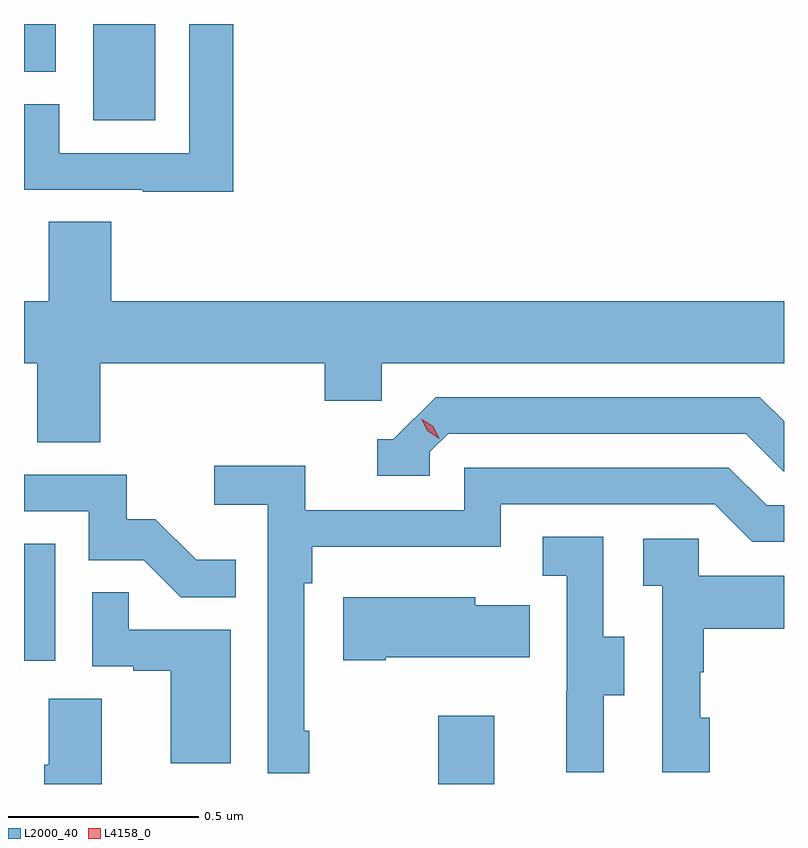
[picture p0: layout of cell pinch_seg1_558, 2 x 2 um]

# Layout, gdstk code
import gdstk
lib = gdstk.Library(unit=1e-6, precision=1e-09)
def R(c, l, rs):  # rectangles x0, y0, x1, y1
    for r in rs: c.add(gdstk.rectangle(r[:2], r[2:], *l))
def P(c, l, *ps):  # polygons
    for p in ps: c.add(gdstk.Polygon(p, *l))
L2000_40 = (2000, 40)
L4158_0 = (4158, 0)

pinch_seg1_558 = lib.new_cell('pinch_seg1_558')
R(pinch_seg1_558, L2000_40, [(1021.192,539.969,1021.339,540.148), (1020.102,540.294,1020.184,540.601), (1020.284,541.716,1020.448,541.969), (1020.102,541.843,1020.186,541.969)])
P(pinch_seg1_558, L2000_40, [(1020.653,541.969),(1020.537,541.969),(1020.537,541.629),(1020.195,541.629),(1020.195,541.758),(1020.102,541.758),(1020.102,541.533),(1020.415,541.533),(1020.415,541.528),(1020.653,541.528)],
  [(1020.302,541.076),(1020.893,541.076),(1020.893,540.978),(1021.044,540.978),(1021.044,541.076),(1022.102,541.076),(1022.102,541.24),(1020.332,541.24),(1020.332,541.448),(1020.167,541.448),(1020.167,541.24),(1020.102,541.24),(1020.102,541.076),(1020.137,541.076),(1020.137,540.868),(1020.302,540.868)],
  [(1021.17,540.843),(1021.218,540.891),(1022.001,540.891),(1022.1,540.792),(1022.102,540.792),(1022.102,540.923),(1022.038,540.987),(1021.185,540.987),(1021.074,540.876),(1021.031,540.876),(1021.031,540.78),(1021.17,540.78)],
  [(1020.853,540.109),(1020.84,540.109),(1020.84,540.497),(1020.86,540.497),(1020.86,540.593),(1021.356,540.593),(1021.356,540.705),(1021.92,540.705),(1022.019,540.606),(1022.102,540.606),(1022.102,540.702),(1022.056,540.702),(1021.957,540.801),(1021.26,540.801),(1021.26,540.69),(1020.842,540.69),(1020.842,540.806),(1020.603,540.806),(1020.603,540.704),(1020.744,540.704),(1020.744,539.997),(1020.853,539.997)],
  [(1020.659,540.559),(1020.555,540.559),(1020.448,540.666),(1020.372,540.666),(1020.372,540.783),(1020.102,540.783),(1020.102,540.687),(1020.273,540.687),(1020.273,540.558),(1020.417,540.558),(1020.515,540.46),(1020.659,540.46)],
  [(1021.627,540.202),(1021.681,540.202),(1021.681,540.357),(1021.626,540.357),(1021.626,540.62),(1021.467,540.62),(1021.467,540.517),(1021.53,540.517),(1021.53,540.213),(1021.529,540.213),(1021.529,540),(1021.627,540)],
  [(1021.906,540.144),(1021.881,540.144),(1021.881,540.263),(1021.891,540.263),(1021.891,540.377),(1022.102,540.377),(1022.102,540.517),(1021.878,540.517),(1021.878,540.615),(1021.731,540.615),(1021.731,540.491),(1021.782,540.491),(1021.782,540),(1021.906,540)],
  [(1020.646,540.375),(1020.377,540.375),(1020.377,540.473),(1020.282,540.473),(1020.282,540.279),(1020.389,540.279),(1020.389,540.267),(1020.488,540.267),(1020.488,540.024),(1020.646,540.024)],
  [(1021.054,540.302),(1021.433,540.302),(1021.433,540.439),(1021.29,540.439),(1021.29,540.46),(1020.942,540.46),(1020.942,540.295),(1021.054,540.295)],
  [(1020.307,540.194),(1020.167,540.194),(1020.167,540.02),(1020.155,540.02),(1020.155,539.969),(1020.307,539.969)])
P(pinch_seg1_558, L4158_0, [(1021.195,540.878),(1021.164,540.897),(1021.148,540.93),(1021.148,540.93),(1021.148,540.93),(1021.179,540.911),(1021.195,540.878),(1021.195,540.878)])

lib.write_gds('pinch_seg1_558.gds')
